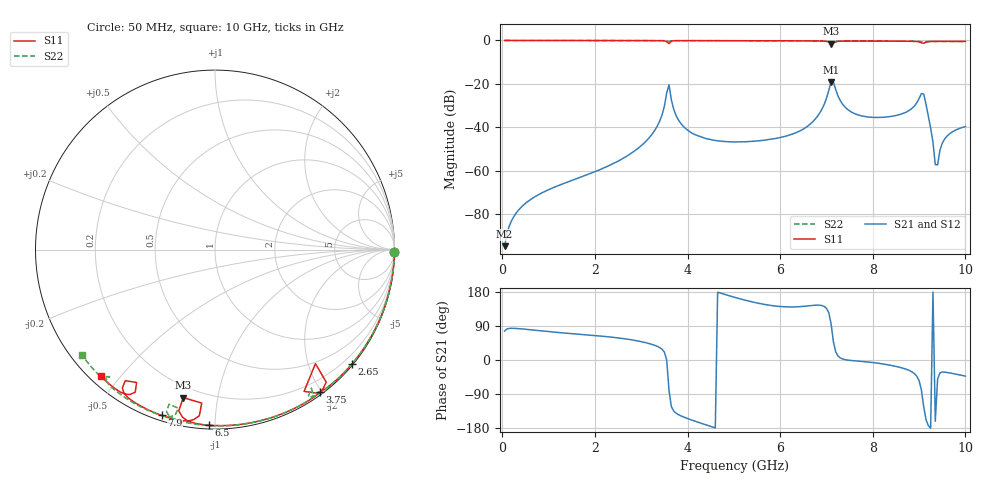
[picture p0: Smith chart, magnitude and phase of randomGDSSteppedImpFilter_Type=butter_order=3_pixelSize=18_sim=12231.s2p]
! freq	dB(S11)	phase(S11)	dB(S12)	phase(S12)
!  dB(S21)	phase(S21)	dB(S22)	phase(S22)
!S-par simulation data
#  GHz  S  DB  R 50
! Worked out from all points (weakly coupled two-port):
!   200 points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, 50 MHz to 10 GHz, reference 50 ohm
!   highest |S21| = -19.07 dB at 7.1 GHz (marker M1); lowest = -94.7 dB at 50 MHz (marker M2)
!   lowest |S11| = -1.5 dB at 7.1 GHz (marker M3), VSWR 11.76, Z = 7 - j39.9 ohm
!   |S11| at or under -10 dB: nowhere
!   |S22| runs from -0.9 to 0.0 dB; largest |S21 - S12| = 0
!   S11 on the Smith chart (normalised r, x): 50 MHz: open; 2.65 GHz: 0.03, -2.75; 3.75 GHz: 0.03, -1.98; 6.5 GHz: 0.02, -0.96; 7.9 GHz: 0.02, -0.73; 10 GHz: 0.03, -0.44
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0.05  -0.00 -0.8  -94.66 76.5  -94.66 76.5  -0.00 -0.8
1.75  -0.03 -26.6  -62.43 67.0  -62.43 67.0  -0.04 -28.2
2.65  -0.05 -39.9  -53.73 55.9  -53.73 55.9  -0.05 -42.3
3.4  -0.09 -51.9  -37.05 32.8  -37.05 32.8  -0.08 -54.1
3.6  -1.45 -48.6  -20.39 -80.2  -20.39 -80.2  -0.54 -55.2
3.75  -0.12 -53.6  -34.43 -140.0  -34.43 -140.0  -0.10 -58.2
4.15  -0.09 -60.3  -43.23 -161.0  -43.23 -161.0  -0.09 -64.5
5.05  -0.11 -72.8  -46.70 164.2  -46.70 164.2  -0.12 -77.4
6.5  -0.18 -92.1  -40.77 141.6  -40.77 141.6  -0.19 -97.4
6.7  -0.21 -94.9  -37.50 144.1  -37.50 144.1  -0.21 -100.2
6.95  -0.33 -99.5  -29.47 141.5  -29.47 141.5  -0.28 -104.3
7.1  -1.48 -102.1  -19.07 95.3  -19.07 95.3  -0.93 -106.6
7.4  -0.26 -100.7  -30.62 1.0  -30.62 1.0  -0.26 -107.7
7.9  -0.26 -107.8  -35.22 -5.3  -35.22 -5.3  -0.27 -114.7
8.35  -0.30 -113.6  -35.09 -13.2  -35.09 -13.2  -0.31 -120.6
8.8  -0.37 -119.7  -32.01 -28.3  -32.01 -28.3  -0.36 -126.6
9.1  -1.31 -120.5  -24.70 -123.3  -24.70 -123.3  -0.73 -129.7
9.3  -0.44 -122.6  -46.83 179.3  -46.83 179.3  -0.44 -131.9
9.35  -0.42 -123.5  -57.14 -161.7  -57.14 -161.7  -0.43 -132.6
9.4  -0.41 -124.3  -57.25 -50.6  -57.25 -50.6  -0.43 -133.3
9.55  -0.41 -126.4  -45.39 -31.9  -45.39 -31.9  -0.44 -135.4
10  -0.45 -132.1  -39.60 -42.6  -39.60 -42.6  -0.49 -141.4
